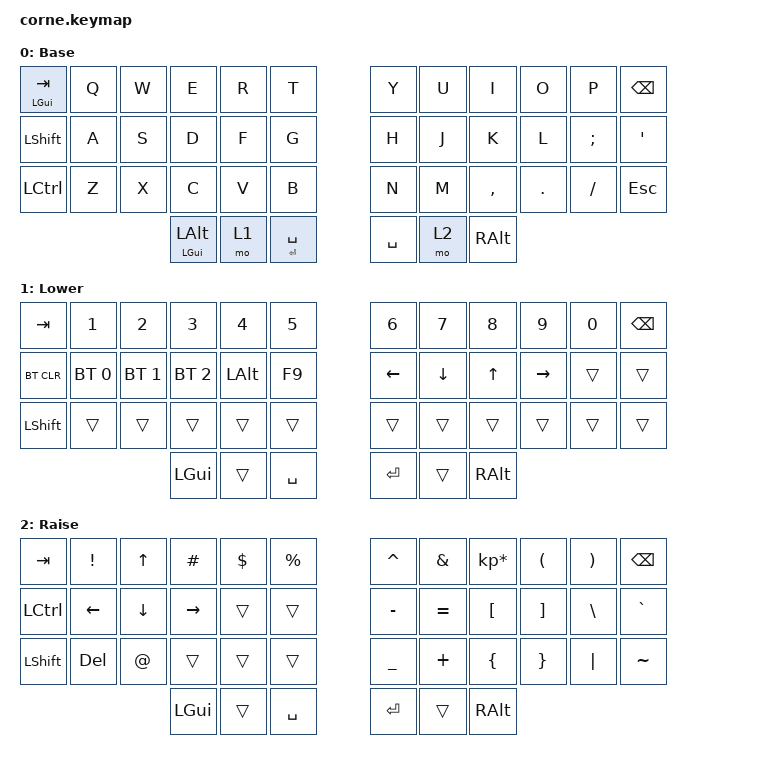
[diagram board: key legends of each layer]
/*
 * Copyright (c) 2020 The ZMK Contributors
 *
 * SPDX-License-Identifier: MIT
 */

#include <behaviors.dtsi>
#include <dt-bindings/zmk/keys.h>
#include <dt-bindings/zmk/bt.h>

/ {
        keymap {
                compatible = "zmk,keymap";

                default_layer {
// -----------------------------------------------------------------------------------------
// |  TAB |  Q  |  W  |  E  |  R  |  T  |   |  Y  |  U   |  I  |  O  |  P  | BKSP |
// | CTRL |  A  |  S  |  D  |  F  |  G  |   |  H  |  J   |  K  |  L  |  ;  |  '   |
// | SHFT |  Z  |  X  |  C  |  V  |  B  |   |  N  |  M   |  ,  |  .  |  /  | ESC  |
//                    | GUI | LWR | SPC |   | ENT | RSE  | ALT |
                        display-name = "Base";
                        bindings = <
   &mt LGUI TAB   &kp Q &kp W &kp E &kp R &kp T   &kp Y &kp U  &kp I     &kp O   &kp P    &kp BSPC
   &kp LSHIFT &kp A &kp S &kp D &kp F &kp G   &kp H &kp J  &kp K     &kp L   &kp SEMI &kp SQT
   &kp LCTRL &kp Z &kp X &kp C &kp V &kp B   &kp N &kp M  &kp COMMA &kp DOT &kp FSLH &kp ESC
                  &mt LGUI LALT &mo 1 &mt RET SPACE &kp SPACE &mo 2 &kp RALT
                        >;
                };
                lower_layer {
// -----------------------------------------------------------------------------------------
// |  TAB |  1  |  2  |  3  |  4  |  5  |   |  6  |  7  |  8  |  9  |  0  | BKSP |
// | BTCLR| BT1 | BT2 | BT3 | BT4 | BT5 |   | LFT | DWN |  UP | RGT |     |      |
// | SHFT |     |     |     |     |     |   |     |     |     |     |     |      |
//                    | GUI |     | SPC |   | ENT |     | ALT |
                        display-name = "Lower";
                        bindings = <
   &kp TAB    &kp N1       &kp N2       &kp N3       &kp N4       &kp N5         &kp N6   &kp N7   &kp N8 &kp N9    &kp N0 &kp BSPC
   &bt BT_CLR &bt BT_SEL 0 &bt BT_SEL 1 &bt BT_SEL 2 &kp LALT &kp F9   &kp LEFT &kp DOWN &kp UP &kp RIGHT &trans &trans
   &kp LSHFT  &trans       &trans       &trans       &trans       &trans         &trans   &trans   &trans &trans    &trans &trans
                          	        &kp LGUI     &trans       &kp SPACE      &kp RET  &trans   &kp RALT
                        >;
                };

                raise_layer {
// -----------------------------------------------------------------------------------------
// |  TAB |  !  |  @  |  #  |  $  |  %  |   |  ^  |  &  |  *  |  (  |  )  | BKSP |
// | CTRL |     |     |     |     |     |   |  -  |  =  |  [  |  ]  |  \  |  `   |
// | SHFT |     |     |     |     |     |   |  _  |  +  |  {  |  }  | "|" |  ~   |
//                    | GUI |     | SPC |   | ENT |     | ALT |
                        display-name = "Raise";
                        bindings = <
   &kp  TAB  &kp EXCL &kp UP &kp HASH &kp DLLR &kp PRCNT   &kp CARET &kp AMPS  &kp KP_MULTIPLY &kp LPAR &kp RPAR &kp BSPC
   &kp LCTRL &kp LEFT &kp DOWN &kp RIGHT &trans   &trans      &kp MINUS &kp EQUAL &kp LBKT        &kp RBKT &kp BSLH &kp GRAVE
   &kp LSHFT &kp DEL   &kp AT &trans   &trans   &trans      &kp UNDER &kp PLUS  &kp LBRC        &kp RBRC &kp PIPE &kp TILDE
                    	     &kp LGUI &trans   &kp SPACE   &kp RET   &trans    &kp RALT
                        >;
                };
        };
};
